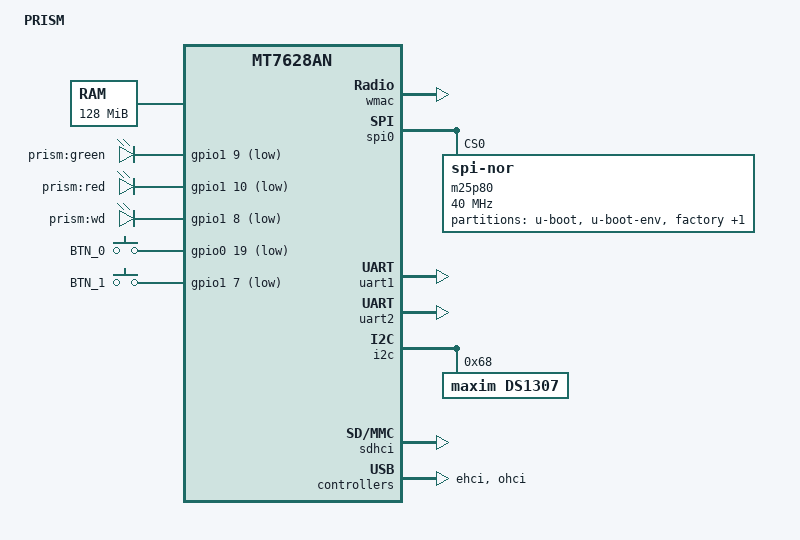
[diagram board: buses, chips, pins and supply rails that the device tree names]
// SPDX-License-Identifier: GPL-2.0-or-later OR MIT
/dts-v1/;

#include "mt7628an.dtsi"

#include <dt-bindings/gpio/gpio.h>
#include <dt-bindings/input/input.h>

/{
	compatible = "prism", "mediatek,mt7628an-soc";
	model = "PRISM";

	aliases {
		led-boot = &led_power;
		led-failsafe = &led_power;
		led-running = &led_power;
		led-upgrade = &led_upgrade;
		//serial0 = &uart1;
		//serial1 = &uart2;
	};

	chosen {
		bootargs = "console=ttyS0,57600";
	};

	memory@0 {
		device_type = "memory";
		reg = <0x0 0x8000000>;
	};

	gpio-leds {
		compatible = "gpio-leds";


		led_power: aaa {
			label = "prism:green";
			//GPIO41
			gpios = <&gpio1 9 GPIO_ACTIVE_LOW>;
		};

		led_upgrade: bbb {
			label = "prism:red";
			//GPIO42
			gpios = <&gpio1 10 GPIO_ACTIVE_LOW>;
		};


		led_whatchdog: ccc {
			label = "prism:wd";
			//GPIO40
			gpios = <&gpio1 8 GPIO_ACTIVE_LOW>;
		};
	};

	gpio-keys {
		compatible = "gpio-keys-polled";
		poll-interval = <20>;

		//reset {
		//	label = "reset";
		//	gpios = <&gpio1 6 GPIO_ACTIVE_LOW>;
		//	linux,code = <KEY_RESTART>;
		//};

		BTN_0 {
			label = "BTN_0";
			gpios = <&gpio0 19 GPIO_ACTIVE_LOW>;
			linux,code = <BTN_0>;
		};

		BTN_1 {
			label = "BTN_1";
			gpios = <&gpio1 7 GPIO_ACTIVE_LOW>;
			linux,code = <BTN_1>;
		};
	};
};

&pinctrl {
	state_default: pinctrl0 {
		gpio {
			ralink,group = "gpio";
			ralink,function = "gpio";
		};

		perst {
			ralink,group = "perst";
			ralink,function = "gpio";
		};

		refclk {
			ralink,group = "refclk";
			ralink,function = "gpio";
		};

		i2s {
			ralink,group = "i2s";
			ralink,function = "gpio";
		};

		spis {
			ralink,group = "spis";
			ralink,function = "gpio";
		};

		wled_kn {
			ralink,group = "wled_kn";
			ralink,function = "gpio";
		};

		wled_an {
			ralink,group = "wled_an";
			ralink,function = "gpio";
		};

		wdt {
			ralink,group = "wdt";
			ralink,function = "gpio";
		};

		pwm0 {
			ralink,group = "pwm0";
			ralink,function = "gpio";
		};

		pwm1 {
			ralink,group = "pwm1";
			ralink,function = "gpio";
		};

		p2led_an {
			ralink,group = "p2led_an";
			ralink,function = "gpio";
		};
		p1led_an {
			ralink,group = "p1led_an";
			ralink,function = "gpio";
		};

	};
};

//STM_RST
//&gpio2 {
//	status = "okay";
//};

//STM_B0
//&gpio3 {
//	status = "okay";
//};

//AT_RST
//&gpio18 {
//	status = "okay";
//};


&ethernet {
	mtd-mac-address = <&factory 0x28>;
};

&wmac {
	status = "okay";
	ralink,mtd-eeprom = <&factory 0x0>;
};

&spi0 {
	status = "okay";

	m25p80@0 {
		compatible = "jedec,spi-nor";
		reg = <0>;
		spi-max-frequency = <40000000>;
		m25p,chunked-io = <32>;

		partitions {
			compatible = "fixed-partitions";
			#address-cells = <1>;
			#size-cells = <1>;

			partition@0 {
				label = "u-boot";
				reg = <0x0 0x30000>;
				read-only;
			};

			partition@30000 {
				label = "u-boot-env";
				reg = <0x30000 0x10000>;
				read-only;
			};

			factory: partition@40000 {
				label = "factory";
				reg = <0x40000 0x10000>;
				read-only;
			};

			partition@50000 {
				label = "firmware";
				reg = <0x50000 0x1fb0000>;
				compatible = "denx,uimage";
			};
		};
	};
};

&uart1 {
	status = "okay";
};


&uart2 {
	status = "okay";
};

&i2c {
	status = "okay";

	ds1307@68 {
		compatible = "maxim,ds1307";
		reg = <0x68>;
		status = "okay";
	};
};

//test SD da linkit
&sdhci {
	status = "okay";
	mediatek,cd-low;
};

&ehci {
	status = "okay";
};

&ohci {
	status = "okay";
};
